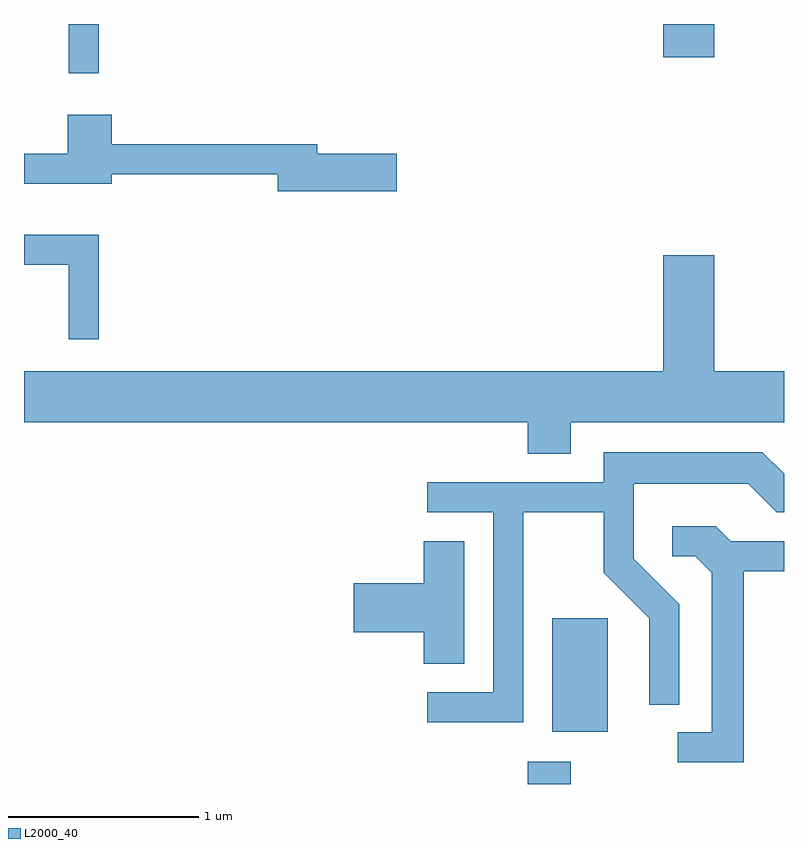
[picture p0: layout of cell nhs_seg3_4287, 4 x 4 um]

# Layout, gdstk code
import gdstk
lib = gdstk.Library(unit=1e-6, precision=1e-09)
def R(c, l, rs):  # rectangles x0, y0, x1, y1
    for r in rs: c.add(gdstk.rectangle(r[:2], r[2:], *l))
def P(c, l, *ps):  # polygons
    for p in ps: c.add(gdstk.Polygon(p, *l))
L2000_40 = (2000, 40)

nhs_seg3_4287 = lib.new_cell('nhs_seg3_4287')
R(nhs_seg3_4287, L2000_40, [(314.261,1121.892,314.489,1122.009), (314.391,1122.166,314.684,1122.764), (311.846,1125.633,312.004,1125.892), (314.976,1125.716,315.244,1125.892)])
P(nhs_seg3_4287, L2000_40, [(313.574,1125.209),(313.154,1125.209),(313.154,1125.259),(312.074,1125.259),(312.074,1125.414),(311.841,1125.414),(311.841,1125.209),(311.611,1125.209),(311.611,1125.051),(312.074,1125.051),(312.074,1125.101),(312.946,1125.101),(312.946,1125.011),(313.574,1125.011)],
  [(312.004,1124.784),(311.611,1124.784),(311.611,1124.626),(311.846,1124.626),(311.846,1124.233),(312.004,1124.233)],
  [(314.489,1123.796),(315.611,1123.796),(315.611,1124.064),(315.244,1124.064),(315.244,1124.674),(314.976,1124.674),(314.976,1124.064),(311.611,1124.064),(311.611,1123.796),(314.261,1123.796),(314.261,1123.631),(314.489,1123.631)],
  [(314.239,1123.321),(314.661,1123.321),(314.661,1123.004),(314.901,1122.764),(314.901,1122.308),(315.059,1122.308),(315.059,1122.837),(314.819,1123.077),(314.819,1123.471),(315.424,1123.471),(315.574,1123.321),(315.611,1123.321),(315.611,1123.525),(315.497,1123.639),(314.661,1123.639),(314.661,1123.479),(313.733,1123.479),(313.733,1123.321),(314.081,1123.321),(314.081,1122.374),(313.733,1122.374),(313.733,1122.216),(314.239,1122.216)],
  [(315.399,1123.011),(315.611,1123.011),(315.611,1123.169),(315.332,1123.169),(315.252,1123.249),(315.023,1123.249),(315.023,1123.091),(315.144,1123.091),(315.231,1123.004),(315.231,1122.164),(315.053,1122.164),(315.053,1122.006),(315.399,1122.006)],
  [(313.929,1123.169),(313.716,1123.169),(313.716,1122.949),(313.346,1122.949),(313.346,1122.691),(313.716,1122.691),(313.716,1122.526),(313.929,1122.526)])

lib.write_gds('nhs_seg3_4287.gds')
